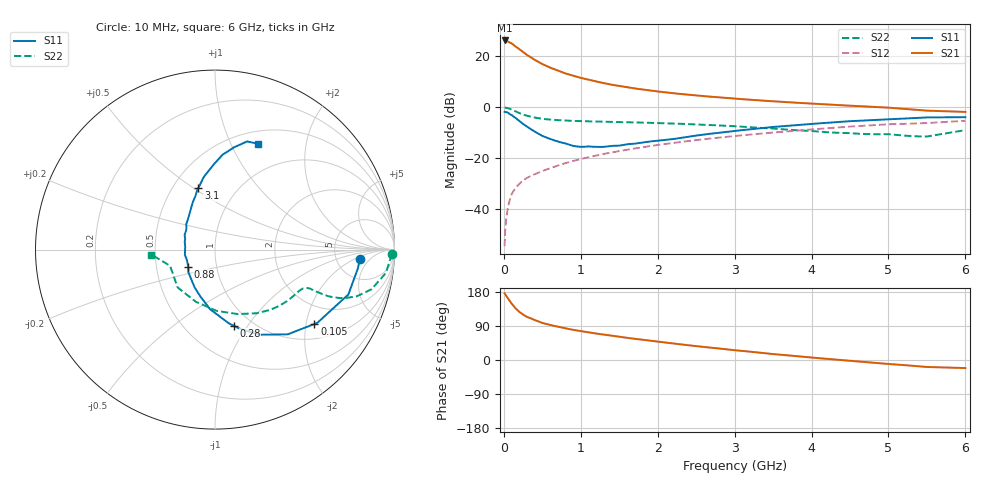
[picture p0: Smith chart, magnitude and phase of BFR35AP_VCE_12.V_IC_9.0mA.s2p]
! Infineon Technologies  Discrete & RF Semiconductors
! BFR35AP
! VCE =  12. V,  IC =  9.0 mA
! Common Emitter S-Parameters:  Nov 2015
# GHz  S  MA  R  50
!  f  S11  S21  S12  S22
! GHz  MAG  ANG  MAG  ANG  MAG  ANG  MAG  ANG
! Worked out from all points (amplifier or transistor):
!   210 points, 10 MHz to 6 GHz, reference 50 ohm
!   highest |S21| = 26.1 dB at 10 MHz (marker M1)
!   |S21| within 3 dB of that: start of sweep to 182.8 MHz
!   unconditionally stable (mu >= 1): 685.5 MHz to 2.745 GHz
!   at 185 MHz: K = 0.50, MSG = 26.8 dB, |S12| = -30.5 dB
!   at 1.52 GHz: K = 1.09, MAG = 10.8 dB, |S12| = -17.1 dB
!   at 6 GHz: K = 0.86, MSG = 1.7 dB, |S12| = -5.3 dB
!   S11 on the Smith chart (normalised r, x): 10 MHz: 8.66, -2.61; 105 MHz: 1.41, -2.23; 280 MHz: 0.82, -0.86; 880 MHz: 0.73, -0.15; 3.1 GHz: 0.67, +0.52; 6 GHz: 0.64, +1.27
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0.01  0.8087 -3.7  20.2 175.9  0.0019 86.5  0.9881 -1.5
0.02  0.8032 -7.4  19.73 172.6  0.0043 81.3  0.9779 -3.2
0.05  0.784 -18.6  19.37 163.4  0.0102 78.4  0.9607 -7.8
0.1  0.7012 -35.6  17.77 149.0  0.0195 72.5  0.8998 -14.2
0.105  0.6916 -36.8  17.51 147.9  0.0202 71.9  0.8927 -14.6
0.15  0.6218 -49.4  15.54 136.7  0.0261 68.1  0.8303 -18.3
0.2  0.5395 -61.5  13.72 127.1  0.0315 64.8  0.7672 -20.7
0.24  0.4818 -69.5  12.31 121.3  0.0355 62.8  0.7253 -21.6
0.28  0.4369 -76.2  11.1 116.4  0.0393 62.4  0.6927 -22.2
0.3  0.4171 -79.5  10.53 113.9  0.0412 62.4  0.6779 -22.4
0.4  0.3331 -94.7  8.455 105.2  0.0485 62.5  0.6251 -22.5
0.5  0.2735 -107.4  6.972 97.8  0.0561 63.5  0.5901 -22.4
0.6  0.2393 -118.3  5.955 92.5  0.0636 64.0  0.5698 -22.3
0.7  0.2131 -128.3  5.186 87.7  0.0716 64.8  0.5572 -22.6
0.88  0.1784 -147.1  4.201 80.4  0.0866 65.0  0.5398 -23.5
1.02  0.1671 -162.2  3.681 75.6  0.0979 65.3  0.5313 -24.5
1.4  0.1742 165.6  2.749 64.2  0.1295 64.3  0.5143 -28.5
2.02  0.2217 133.8  2.011 47.9  0.1834 60.5  0.4874 -37.4
3.1  0.3552 105.1  1.433 24.0  0.2814 50.9  0.4139 -59.2
4.1  0.4818 90.1  1.151 4.7  0.3759 40.0  0.3316 -92.4
5.1  0.5886 78.2  0.951 -11.9  0.4664 26.4  0.2861 -139.3
6  0.6365 67.9  0.807 -21.3  0.5407 15.7  0.3555 -175.5
